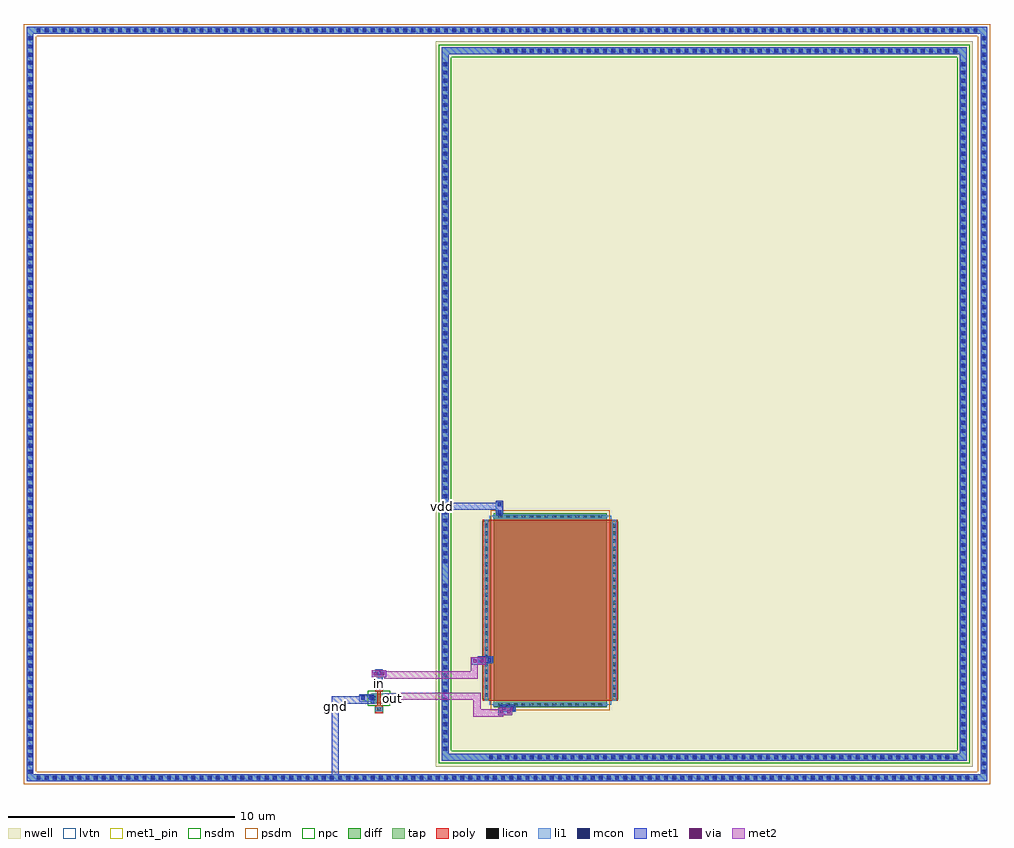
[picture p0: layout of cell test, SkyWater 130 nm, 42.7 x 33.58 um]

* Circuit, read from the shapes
.subckt test gnd in out vdd
XM1 out in gnd gnd sky130_fd_pr__nfet_01v8 w=0.42 l=0.15
XM2 vdd in out vdd sky130_fd_pr__pfet_01v8_lvt w=5 l=8
.ends

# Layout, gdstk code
from math import pi, radians
import gdstk
lib = gdstk.Library(unit=1e-6, precision=5e-09)
def R(c, l, rs):  # rectangles x0, y0, x1, y1
    for r in rs: c.add(gdstk.rectangle(r[:2], r[2:], *l))
def A(c, l, x, y, w, h, nx, ny, dx, dy):  # array of equal rectangles
    R(c, l, [(x+i*dx, y+j*dy, x+i*dx+w, y+j*dy+h) for i in range(nx) for j in range(ny)])
nwell = (64, 20)
diff = (65, 20)
tap = (65, 44)
poly = (66, 20)
licon = (66, 44)
li1 = (67, 20)
mcon = (67, 44)
met1_pin = (68, 16)
met1 = (68, 20)
via = (68, 44)
met2 = (69, 20)
nsdm = (93, 44)
psdm = (94, 20)
npc = (95, 20)
lvtn = (125, 44)

sky130_fd_pr__pfet_01v8_ = lib.new_cell('sky130_fd_pr__pfet_01v8_lvt_b7ym1c')
R(sky130_fd_pr__pfet_01v8_, nwell, [(-4.47,-3,4.47,3)])
R(sky130_fd_pr__pfet_01v8_, diff, [(-4.29,-2.5,4.29,2.5)])
R(sky130_fd_pr__pfet_01v8_, poly, [(-4,-2.985,4,2.985)])
A(sky130_fd_pr__pfet_01v8_, licon, -3.825, -2.905, 0.17, 0.17, 23, 2, 0.34, 5.64)
A(sky130_fd_pr__pfet_01v8_, licon, -4.23, -2.295, 0.17, 0.17, 1, 14, 0, 0.34)
A(sky130_fd_pr__pfet_01v8_, licon, 4.06, -2.295, 0.17, 0.17, 1, 14, 0, 0.34)
R(sky130_fd_pr__pfet_01v8_, li1, [(-4,-2.905,4,-2.735), (-4.23,-2.52,-4.06,2.52), (4.06,-2.52,4.23,2.52), (-4,2.735,4,2.905)])
R(sky130_fd_pr__pfet_01v8_, psdm, [(-4.415,-2.625,4.415,2.625)])
R(sky130_fd_pr__pfet_01v8_, npc, [(-3.925,-3.005,3.925,-2.635), (-3.925,2.635,3.925,3.005)])
R(sky130_fd_pr__pfet_01v8_, lvtn, [(-4.18,-2.68,4.18,2.68)])

mos_14 = lib.new_cell('mos$14')
R(mos_14, diff, [(-0.365,-0.21,0.365,0.21), (-0.365,-0.21,-0.075,0.21), (0.075,-0.21,0.365,0.21)])
R(mos_14, poly, [(-0.165,-0.65,0.165,-0.32), (-0.075,-0.485,0.075,0.485), (-0.165,0.32,0.165,0.65)])
R(mos_14, licon, [(-0.085,-0.57,0.085,-0.4), (-0.305,-0.085,-0.135,0.085), (0.135,-0.085,0.305,0.085), (-0.085,0.4,0.085,0.57)])
R(mos_14, li1, [(-0.165,-0.57,0.165,-0.4), (-0.305,-0.23,-0.135,0.23), (0.135,-0.23,0.305,0.23), (-0.165,0.4,0.165,0.57)])
R(mos_14, nsdm, [(-0.49,-0.335,0.49,0.335)])
R(mos_14, npc, [(-0.185,-0.67,0.185,-0.3), (-0.185,0.3,0.185,0.67)])

contact_13 = lib.new_cell('contact$13')
R(contact_13, li1, [(-0.345,-0.165,0.345,0.165)])
R(contact_13, mcon, [(-0.265,-0.085,-0.095,0.085), (0.095,-0.085,0.265,0.085)])
R(contact_13, met1, [(-0.325,-0.145,0.325,0.145)])

contact_9 = lib.new_cell('contact$9')
R(contact_9, met1, [(-0.32,-0.16,0.32,0.16)])
R(contact_9, via, [(-0.235,-0.075,-0.085,0.075), (0.085,-0.075,0.235,0.075)])
R(contact_9, met2, [(-0.32,-0.16,0.32,0.16)])

test = lib.new_cell('test')
R(test, nwell, [(27.03,-6.23,38.535,2.735), (27.07,-6.175,49.145,24.195)])
A(test, licon, 8.62, -7.59, 0.17, 0.17, 116, 2, 0.36, 33.03)
A(test, licon, 8.245, -7.32, 0.17, 0.17, 1, 91, 0, 0.36)
A(test, licon, 50.39, -7.32, 0.17, 0.17, 1, 91, 0, 0.36)
A(test, licon, 28.61, -6.68, 0.17, 0.17, 58, 1, 0.36, 0)
A(test, licon, 26.585, -6.305, 0.17, 0.17, 1, 21, 0, 0.36)
A(test, licon, 49.48, -6.305, 0.17, 0.17, 1, 85, 0, 0.36)
A(test, licon, 26.585, 1.975, 0.17, 0.17, 1, 62, 0, 0.36)
A(test, licon, 28.97, 24.53, 0.17, 0.17, 57, 1, 0.36, 0)
R(test, li1, [(23.585,-3.58,23.915,-3.35)])
A(test, mcon, 8.62, -7.59, 0.17, 0.17, 116, 2, 0.36, 33.03)
A(test, mcon, 8.245, -7.32, 0.17, 0.17, 1, 91, 0, 0.36)
A(test, mcon, 50.39, -7.32, 0.17, 0.17, 1, 91, 0, 0.36)
A(test, mcon, 28.61, -6.68, 0.17, 0.17, 58, 1, 0.36, 0)
A(test, mcon, 26.585, -6.305, 0.17, 0.17, 1, 21, 0, 0.36)
A(test, mcon, 49.48, -6.305, 0.17, 0.17, 1, 85, 0, 0.36)
A(test, mcon, 26.585, 1.975, 0.17, 0.17, 1, 62, 0, 0.36)
A(test, mcon, 28.97, 24.53, 0.17, 0.17, 57, 1, 0.36, 0)
R(test, met1_pin, [(23.025,-4.11,23.26,-3.89), (24.43,-4.055,24.68,-3.845), (23.62,-2.965,23.85,-2.75), (26.435,4.38,26.67,4.61)])
test.add(gdstk.FlexPath([(8.18,25.525),(50.475,25.525),(50.475,-7.505),(8.33,-7.505),(8.33,25.675)], 0.3, ends="flush", simple_path=True, layer=67, datatype=20))  # li1
test.add(gdstk.FlexPath([(26.52,24.615),(49.565,24.615),(49.565,-6.595),(26.67,-6.595),(26.67,24.765)], 0.3, ends="flush", simple_path=True, layer=67, datatype=20))  # li1
test.add(gdstk.FlexPath([(8.18,25.525),(50.475,25.525),(50.475,-7.505),(8.33,-7.505),(8.33,25.675)], 0.3, ends="flush", simple_path=True, layer=68, datatype=20))  # met1
test.add(gdstk.FlexPath([(26.52,24.615),(49.565,24.615),(49.565,-6.595),(26.67,-6.595),(26.67,24.765)], 0.3, ends="flush", simple_path=True, layer=68, datatype=20))  # met1
test.add(gdstk.FlexPath([(28.995,4.495),(26.435,4.495)], 0.32, ends="flush", simple_path=True, layer=68, datatype=20))  # met1
test.add(gdstk.FlexPath([(23.545,-4.065),(21.815,-4.065),(21.815,-7.47)], 0.32, ends="flush", simple_path=True, layer=68, datatype=20))  # met1
test.add(gdstk.FlexPath([(23.98,-2.96),(27.95,-2.96),(27.95,-2.18)], 0.32, ends="flush", simple_path=True, layer=69, datatype=20))  # met2
test.add(gdstk.FlexPath([(24.705,-3.9),(28.075,-3.9),(28.075,-4.64),(29.24,-4.64)], 0.32, ends="flush", simple_path=True, layer=69, datatype=20))  # met2
test.add(gdstk.FlexPath([(8.055,25.525),(50.475,25.525),(50.475,-7.505),(8.33,-7.505),(8.33,25.8)], 0.55, ends="flush", simple_path=True, layer=94, datatype=20))  # psdm
test.add(gdstk.FlexPath([(26.25,24.615),(49.565,24.615),(49.565,-6.595),(26.67,-6.595),(26.67,25.035)], 0.84, ends="flush", simple_path=True, layer=64, datatype=20))  # nwell
test.add(gdstk.FlexPath([(26.395,24.615),(49.565,24.615),(49.565,-6.595),(26.67,-6.595),(26.67,24.89)], 0.55, ends="flush", simple_path=True, layer=93, datatype=44))  # nsdm
test.add(gdstk.FlexPath([(8.18,25.525),(50.475,25.525),(50.475,-7.505),(8.33,-7.505),(8.33,25.675)], 0.3, ends="flush", simple_path=True, layer=65, datatype=44))  # tap
test.add(gdstk.FlexPath([(26.52,24.615),(49.565,24.615),(49.565,-6.595),(26.67,-6.595),(26.67,24.765)], 0.3, ends="flush", simple_path=True, layer=65, datatype=44))  # tap
test.add(gdstk.Reference(sky130_fd_pr__pfet_01v8_, (31.32,-0.105), rotation=pi/2))
test.add(gdstk.Reference(mos_14, (23.75,-3.995), rotation=pi))
test.add(gdstk.Reference(contact_13, (23.22,-3.975), rotation=pi))
test.add(gdstk.Reference(contact_13, (28.45,-2.29)))
test.add(gdstk.Reference(contact_13, (29.435,-4.42)))
test.add(gdstk.Reference(contact_13, (23.75,-3.065), rotation=3*pi/2))
test.add(gdstk.Reference(contact_13, (24.38,-3.93)))
test.add(gdstk.Reference(contact_13, (29.07,4.4), rotation=3*pi/2))
test.add(gdstk.Reference(contact_9, (28.15,-2.34), rotation=pi))
test.add(gdstk.Reference(contact_9, (29.325,-4.575), rotation=pi))
test.add(gdstk.Reference(contact_9, (24.41,-3.95)))
test.add(gdstk.Reference(contact_9, (23.745,-2.91)))
test.add(gdstk.Label('vdd', (26.555,4.495), layer=68, texttype=5))
test.add(gdstk.Label('gnd', (21.815,-4.36), layer=68, texttype=5))
test.add(gdstk.Label('in', (23.76,-3.345), layer=68, texttype=5))
test.add(gdstk.Label('out', (24.325,-4.005), layer=68, texttype=5))
test.add(gdstk.Label('in', (23.715,-2.85), layer=68, texttype=5))

lib.write_gds('test.gds')
